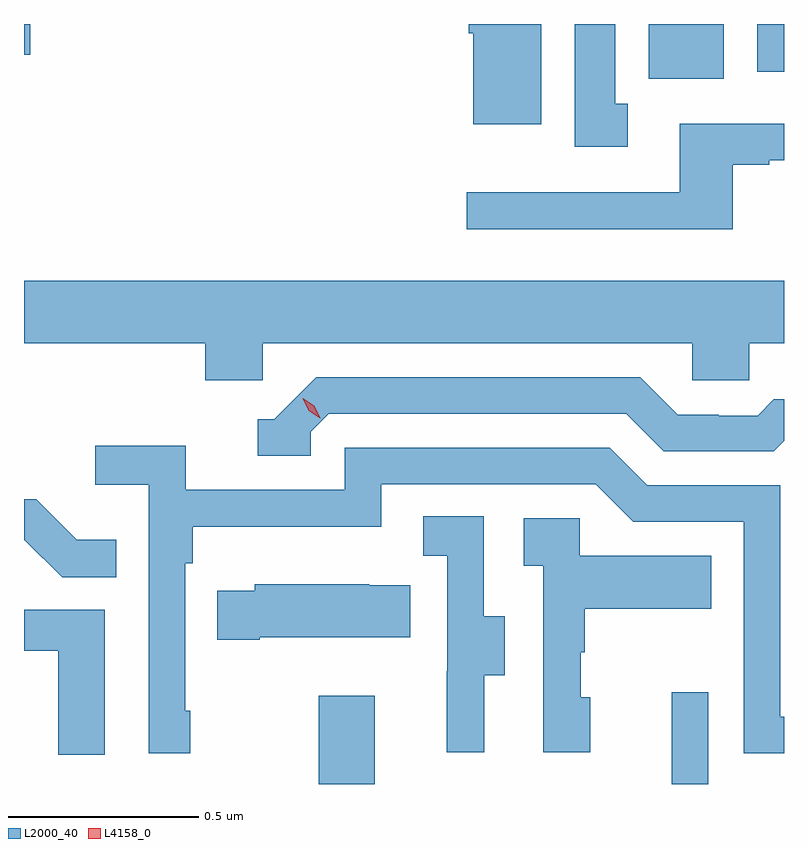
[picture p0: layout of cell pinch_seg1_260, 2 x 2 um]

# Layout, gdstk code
import gdstk
lib = gdstk.Library(unit=1e-6, precision=1e-09)
def R(c, l, rs):  # rectangles x0, y0, x1, y1
    for r in rs: c.add(gdstk.rectangle(r[:2], r[2:], *l))
def P(c, l, *ps):  # polygons
    for p in ps: c.add(gdstk.Polygon(p, *l))
L2000_40 = (2000, 40)
L4158_0 = (4158, 0)

pinch_seg1_260 = lib.new_cell('pinch_seg1_260')
R(pinch_seg1_260, L2000_40, [(935.722,571.884,935.869,572.116), (936.65,571.884,936.747,572.125), (936.59,573.74,936.787,573.884), (936.875,573.758,936.946,573.884), (934.946,573.803,934.963,573.884)])
P(pinch_seg1_260, L2000_40, [(936.307,573.884),(936.116,573.884),(936.116,573.86),(936.128,573.86),(936.128,573.62),(936.307,573.62)],
  [(936.535,573.674),(936.502,573.674),(936.502,573.884),(936.395,573.884),(936.395,573.561),(936.535,573.561)],
  [(936.811,573.513),(936.907,573.513),(936.907,573.525),(936.946,573.525),(936.946,573.622),(936.671,573.622),(936.671,573.441),(936.111,573.441),(936.111,573.344),(936.811,573.344)],
  [(935.574,573.044),(936.705,573.044),(936.705,572.946),(936.855,572.946),(936.855,573.044),(936.946,573.044),(936.946,573.208),(934.946,573.208),(934.946,573.044),(935.423,573.044),(935.423,572.946),(935.574,572.946)],
  [(935.7,572.811),(935.748,572.859),(936.531,572.859),(936.63,572.76),(936.919,572.76),(936.946,572.787),(936.946,572.896),(936.919,572.896),(936.877,572.853),(936.774,572.853),(936.774,572.856),(936.667,572.856),(936.568,572.955),(935.715,572.955),(935.604,572.844),(935.561,572.844),(935.561,572.748),(935.7,572.748)],
  [(935.383,572.077),(935.37,572.077),(935.37,572.465),(935.39,572.465),(935.39,572.561),(935.886,572.561),(935.886,572.673),(936.45,572.673),(936.549,572.574),(936.84,572.574),(936.84,571.965),(936.946,571.965),(936.946,572.061),(936.936,572.061),(936.936,572.67),(936.586,572.67),(936.487,572.769),(935.79,572.769),(935.79,572.658),(935.372,572.658),(935.372,572.774),(935.133,572.774),(935.133,572.672),(935.274,572.672),(935.274,571.965),(935.383,571.965)],
  [(935.189,572.527),(935.085,572.527),(934.978,572.634),(934.946,572.634),(934.946,572.526),(934.948,572.526),(935.046,572.428),(935.189,572.428)],
  [(936.157,572.17),(936.211,572.17),(936.211,572.325),(936.156,572.325),(936.156,572.588),(935.997,572.588),(935.997,572.485),(936.06,572.485),(936.06,572.181),(936.059,572.181),(936.059,571.968),(936.157,571.968)],
  [(936.436,572.112),(936.411,572.112),(936.411,572.231),(936.421,572.231),(936.421,572.345),(936.755,572.345),(936.755,572.485),(936.408,572.485),(936.408,572.583),(936.261,572.583),(936.261,572.459),(936.312,572.459),(936.312,571.968),(936.436,571.968)],
  [(935.566,572.27),(935.963,572.27),(935.963,572.407),(935.855,572.407),(935.855,572.41),(935.553,572.41),(935.553,572.392),(935.455,572.392),(935.455,572.263),(935.566,572.263)],
  [(935.158,572.343),(934.946,572.343),(934.946,572.235),(935.036,572.235),(935.036,571.961),(935.158,571.961)])
P(pinch_seg1_260, L4158_0, [(935.726,572.847),(935.695,572.866),(935.679,572.899),(935.679,572.899),(935.679,572.899),(935.71,572.88),(935.726,572.847),(935.726,572.847)])

lib.write_gds('pinch_seg1_260.gds')
